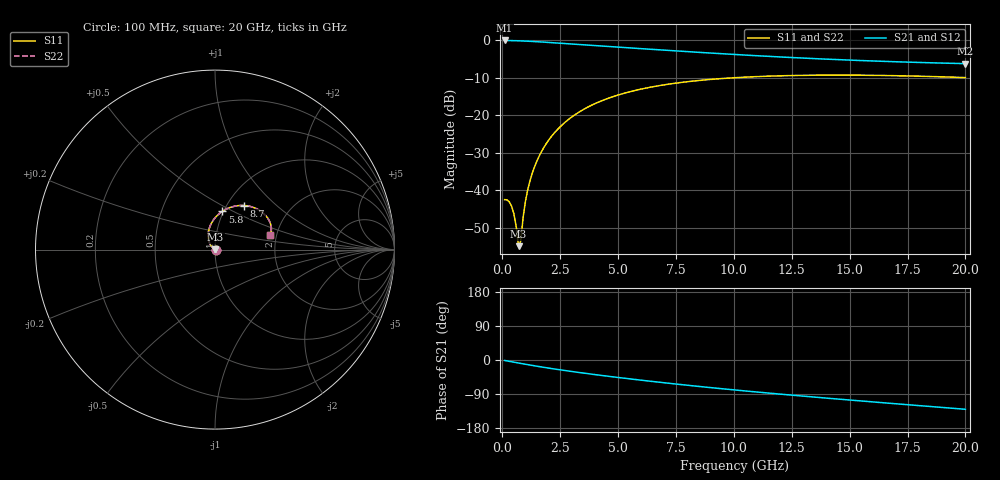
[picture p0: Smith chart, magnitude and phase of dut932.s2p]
! Touchstone file exported from HFSS 2024.1.0
!  File:  C:/UserFiles/LocalFiles/RDL_TSV_Batchsim/temp_RDL_TSV_932_1779961086.aedt
!  Generated:  05:49:28 PM May 28, 2026
!  Design:  RDL_TSV
!  Project:  temp_RDL_TSV_932_1779961086
!  Setup:  Setup1
!  Solution:  Sweep
! Variables:
!  dtsv = 8.56um
!  hbump = 3um
!  htsv = 54.21um
!  ldown = 320.43um
!  lrdl = 239.95um
!  p = 40
!  p1 = 51.07um
!  rhole = 10um
!  subl = 1921.09um
!  t = 450um
!  tdown = 4.82um
!  trdl = 3.81um
!  viad = 10um
!  wdown = 21.37um
!  wrdl = 29.19um
!  xbump = 18um
# GHz S MA R 50.000000
! Terminal data exported
! Port[1] = TM1_1_T1
! Port[2] = TM1_4_T1
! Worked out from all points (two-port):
!   200 points, 100 MHz to 20 GHz, reference 50 ohm
!   highest |S21| = -0.07 dB at 100 MHz (marker M1); lowest = -6.3 dB at 20 GHz (marker M2)
!   |S21| within 3 dB of the highest: start of sweep to 8.048 GHz
!   lowest |S11| = -54.9 dB at 700 MHz (marker M3), VSWR 1.00, Z = 50.1 + j0.119 ohm
!   |S11| at or under -10 dB: start of sweep to 10.03 GHz
!   |S22| runs from -54.9 to -9.3 dB; largest |S21 - S12| = 3.6e-14
!   S11 on the Smith chart (normalised r, x): 100 MHz: 1.02, +0.00; 5.8 GHz: 0.99, +0.44; 8.7 GHz: 1.20, +0.65; 20 GHz: 1.85, +0.33
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0.1  0.00749 3.0  0.9922 -1.2  0.9922 -1.2  0.00749 3.0
! Gamma 0 0 0 0
! Port Impedance 50 0 50 0
0.3  0.007018 3.2  0.9898 -3.5  0.9898 -3.5  0.007018 3.2
0.5  0.004863 4.5  0.9864 -5.8  0.9864 -5.8  0.004863 4.5
0.6  0.003305 11.5  0.9843 -6.9  0.9843 -6.9  0.003306 11.5
0.7  0.001797 41.3  0.9819 -8.0  0.9819 -8.0  0.001798 41.3
0.8  0.002132 111.2  0.9793 -9.1  0.9793 -9.1  0.002131 111.1
0.9  0.004358 134.9  0.9765 -10.2  0.9765 -10.2  0.004356 134.9
1  0.007126 140.9  0.9734 -11.3  0.9734 -11.3  0.007122 140.9
1.1  0.0102 142.4  0.9701 -12.3  0.9701 -12.3  0.0102 142.4
1.3  0.01708 141.5  0.9629 -14.4  0.9629 -14.4  0.01707 141.5
1.6  0.02883 137.1  0.951 -17.5  0.951 -17.5  0.02882 137.1
2  0.04643 130.2  0.934 -21.4  0.934 -21.4  0.04641 130.1
2.4  0.06538 123.2  0.9163 -25.1  0.9163 -25.1  0.06535 123.2
3.5  0.1191 106.1  0.8684 -34.5  0.8684 -34.5  0.119 106.1
4.5  0.1649 93.2  0.8276 -42.4  0.8276 -42.4  0.1648 93.2
5.8  0.2162 79.4  0.7785 -51.9  0.7785 -51.9  0.2161 79.4
6.8  0.2487 70.5  0.7432 -58.8  0.7432 -58.8  0.2486 70.4
8.7  0.2947 56.4  0.6825 -71.1  0.6825 -71.1  0.2945 56.4
10.1  0.3171 48.0  0.6433 -79.5  0.6433 -79.5  0.3169 48.0
13.4  0.3413 32.6  0.5697 -97.5  0.5697 -97.5  0.3409 32.6
16.7  0.3377 21.8  0.5195 -114.1  0.5195 -114.1  0.3373 21.8
20  0.3174 14.9  0.487 -130.1  0.487 -130.1  0.3169 14.9
